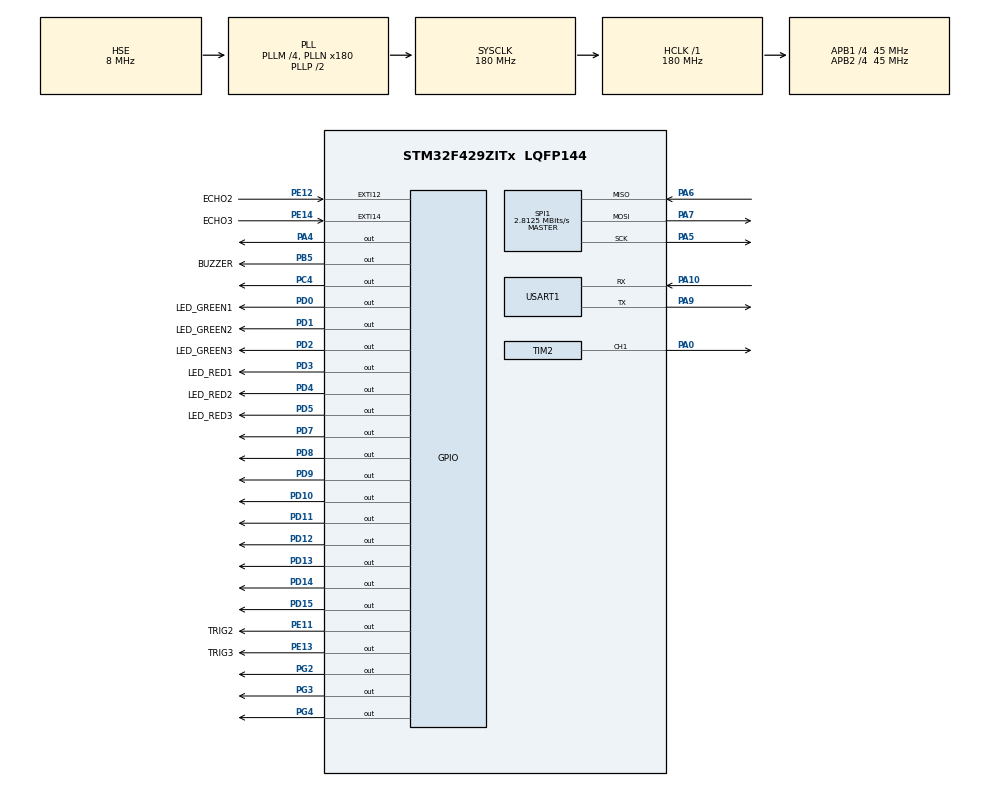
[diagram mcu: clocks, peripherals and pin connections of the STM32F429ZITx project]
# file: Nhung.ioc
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Mcu.Family=STM32F4
Mcu.Name=STM32F429ZITx
Mcu.Package=LQFP144
NVIC.EXTI15_10_IRQn=true\:0\:0\:false\:false\:true\:true\:true\:true
NVIC.PriorityGroup=NVIC_PRIORITYGROUP_4
NVIC.USART1_IRQn=true\:0\:0\:false\:false\:true\:true\:true\:true
PA0/WKUP.Signal=S_TIM2_CH1_ETR
PA10.Mode=Asynchronous
PA10.Signal=USART1_RX
PA4.Signal=GPIO_Output
PA5.Mode=Full_Duplex_Master
PA5.Signal=SPI1_SCK
PA6.Mode=Full_Duplex_Master
PA6.Signal=SPI1_MISO
PA7.Mode=Full_Duplex_Master
PA7.Signal=SPI1_MOSI
PA9.Mode=Asynchronous
PA9.Signal=USART1_TX
PB5.GPIO_Label=BUZZER
PB5.Signal=GPIO_Output
PC4.Signal=GPIO_Output
PD0.GPIO_Label=LED_GREEN1
PD0.Signal=GPIO_Output
PD1.GPIO_Label=LED_GREEN2
PD1.Signal=GPIO_Output
PD10.Signal=GPIO_Output
PD11.Signal=GPIO_Output
PD12.Signal=GPIO_Output
PD13.Signal=GPIO_Output
PD14.Signal=GPIO_Output
PD15.Signal=GPIO_Output
PD2.GPIO_Label=LED_GREEN3
PD2.Signal=GPIO_Output
PD3.GPIO_Label=LED_RED1
PD3.Signal=GPIO_Output
PD4.GPIO_Label=LED_RED2
PD4.Signal=GPIO_Output
PD5.GPIO_Label=LED_RED3
PD5.Signal=GPIO_Output
PD7.Signal=GPIO_Output
PD8.Signal=GPIO_Output
PD9.Signal=GPIO_Output
PE11.GPIO_Label=TRIG2
PE11.Signal=GPIO_Output
PE12.GPIO_Label=ECHO2
PE12.GPIO_ModeDefaultEXTI=GPIO_MODE_IT_RISING_FALLING
PE12.Signal=GPXTI12
PE13.GPIO_Label=TRIG3
PE13.Signal=GPIO_Output
PE14.GPIO_Label=ECHO3
PE14.GPIO_ModeDefaultEXTI=GPIO_MODE_IT_RISING_FALLING
PE14.Signal=GPXTI14
PG2.Signal=GPIO_Output
PG3.Signal=GPIO_Output
PG4.Signal=GPIO_Output
PH0/OSC_IN.Mode=HSE-External-Oscillator
PH0/OSC_IN.Signal=RCC_OSC_IN
PH1/OSC_OUT.Mode=HSE-External-Oscillator
PH1/OSC_OUT.Signal=RCC_OSC_OUT
ProjectManager.HeapSize=0x200
ProjectManager.StackSize=0x400
ProjectManager.TargetToolchain=STM32CubeIDE
RCC.48MHZClocksFreq_Value=90000000
RCC.AHBFreq_Value=180000000
RCC.APB1CLKDivider=RCC_HCLK_DIV4
RCC.APB1Freq_Value=45000000
RCC.APB1TimFreq_Value=90000000
RCC.APB2CLKDivider=RCC_HCLK_DIV4
RCC.APB2Freq_Value=45000000
RCC.APB2TimFreq_Value=90000000
RCC.CortexFreq_Value=180000000
RCC.HCLKFreq_Value=180000000
RCC.HSE_VALUE=8000000
RCC.HSI_VALUE=16000000
RCC.LSE_VALUE=32768
RCC.PLLM=4
RCC.PLLN=180
RCC.PLLSourceVirtual=RCC_PLLSOURCE_HSE
RCC.SYSCLKFreq_VALUE=180000000
RCC.SYSCLKSource=RCC_SYSCLKSOURCE_PLLCLK
RCC.VCOOutputFreq_Value=360000000
SH.S_TIM2_CH1_ETR.0=TIM2_CH1,PWM Generation1 CH1
SPI1.BaudRatePrescaler=SPI_BAUDRATEPRESCALER_16
SPI1.CalculateBaudRate=2.8125 MBits/s
SPI1.Direction=SPI_DIRECTION_2LINES
SPI1.Mode=SPI_MODE_MASTER
SPI1.VirtualType=VM_MASTER
TIM2.Channel-PWM\ Generation1\ CH1=TIM_CHANNEL_1
TIM2.Period=19999
TIM2.Prescaler=89
USART1.VirtualMode=VM_ASYNC
VP_TIM2_VS_ClockSourceINT.Mode=Internal
board=custom

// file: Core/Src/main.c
/* USER CODE BEGIN Header */
/**
  ******************************************************************************
  * @file           : main.c
  * @brief          : Main program body
  ******************************************************************************
  */
/* USER CODE END Header */
#include "main.h"

/* USER CODE BEGIN Includes */
#include "lcd1602.h"
#include "tm_stm32f4_mfrc522.h"
#include <stdio.h>
#include <string.h>
#include <stdlib.h>
#include <ctype.h>
/* USER CODE END Includes */

/* USER CODE BEGIN PD */
#define MAX_CARDS 10          // Số lượng thẻ tối đa hệ thống có thể lưu
#define RX_BUF_SIZE 60        // Kích thước bộ đệm nhận UART
/* USER CODE END PD */

SPI_HandleTypeDef hspi1;

TIM_HandleTypeDef htim2;

UART_HandleTypeDef huart1;

/* USER CODE BEGIN PV */
extern SPI_HandleTypeDef hspi1;
extern TIM_HandleTypeDef htim2;

// Cơ sở dữ liệu danh sách thẻ hợp lệ
uint8_t AllowedCards[MAX_CARDS][5] = {
    {0x56, 0x62, 0x2E, 0x02, 0x18},  // Thẻ Master mặc định ban đầu tại vị trí [0]
    {0xF0, 0x94, 0xD8, 0x5C, 0xE0},
	{0x40, 0x27, 0xC4, 0x41, 0xE2},
	{0xA4, 0x73, 0xC4, 0x41, 0x52}
};
uint8_t current_card_count = 4;

uint8_t str[5]; // Lưu UID thẻ vừa quét

// Biến điều khiển nhận bằng NGẮT UART
uint8_t rx_byte = 0;                  // Biến nhận từng byte một từ ngắt
char rx_buffer[RX_BUF_SIZE];
uint16_t rx_index = 0;
volatile uint8_t command_ready = 0;  // Sử dụng volatile vì biến thay đổi trong ISR

// Biến lưu khoảng cách cho cảm biến 2 và cảm biến 3
volatile uint32_t distance2 = 0;
volatile uint32_t distance3 = 0;

// Các biến phục vụ đo EXTI cho cảm biến 2
volatile uint32_t echo2_start_time = 0, echo2_end_time = 0;

// Các biến phục vụ đo EXTI cho cảm biến 3
volatile uint32_t echo3_start_time = 0, echo3_end_time = 0;
/* USER CODE END PV */

void SystemClock_Config(void);
static void MX_GPIO_Init(void);
static void MX_SPI1_Init(void);
static void MX_USART1_UART_Init(void);
static void MX_TIM2_Init(void);
/* USER CODE BEGIN PFP */
uint8_t Is_Card_Allowed(uint8_t *uid);
void Process_UART_Command(char *input);
uint8_t IsValidHexCard(char *str_hex);
void Control_Servo(uint8_t angle);
/* USER CODE END PFP */

/* USER CODE BEGIN 0 */
void delay_us(uint16_t us) {
    __HAL_TIM_SET_COUNTER(&htim2, 0);
    while (__HAL_TIM_GET_COUNTER(&htim2) < us);
}

// Kích xung Trigger riêng biệt cho cảm biến 2
void Trigger_Sensor2(void) {
    HAL_GPIO_WritePin(GPIOE, TRIG2_Pin, GPIO_PIN_RESET);
    delay_us(2);
    HAL_GPIO_WritePin(GPIOE, TRIG2_Pin, GPIO_PIN_SET);
    delay_us(12);
    HAL_GPIO_WritePin(GPIOE, TRIG2_Pin, GPIO_PIN_RESET);
}

// Kích xung Trigger riêng biệt cho cảm biến 3 (PE13)
void Trigger_Sensor3(void) {
    HAL_GPIO_WritePin(GPIOE, TRIG3_Pin, GPIO_PIN_RESET);
    delay_us(2);
    HAL_GPIO_WritePin(GPIOE, TRIG3_Pin, GPIO_PIN_SET);
    delay_us(12);
    HAL_GPIO_WritePin(GPIOE, TRIG3_Pin, GPIO_PIN_RESET);
}

// Hàm Callback xử lý ngắt ngoài EXTI chung cho các chân Echo
void HAL_GPIO_EXTI_Callback(uint16_t GPIO_Pin) {
    uint32_t current_time = __HAL_TIM_GET_COUNTER(&htim2);
    uint32_t pulse_width = 0;
    uint32_t calculated_distance = 0;

    // Xử lý Echo cho cảm biến Slot 2
    if (GPIO_Pin == ECHO2_Pin) {
        if (HAL_GPIO_ReadPin(GPIOE, ECHO2_Pin) == GPIO_PIN_SET) {
            echo2_start_time = current_time;
        } else {
            echo2_end_time = current_time;
            if (echo2_end_time > echo2_start_time) {
                pulse_width = echo2_end_time - echo2_start_time;
            } else {
                pulse_width = (0xFFFFFFFF - echo2_start_time) + echo2_end_time;
            }
            calculated_distance = (pulse_width * 0.0343) / 2;
            if (calculated_distance > 2 && calculated_distance < 400) {
                distance2 = calculated_distance;
            }
        }
    }

    // Xử lý Echo cho cảm biến Slot 3 (PE14)
    if (GPIO_Pin == ECHO3_Pin) {
        if (HAL_GPIO_ReadPin(GPIOE, ECHO3_Pin) == GPIO_PIN_SET) {
            echo3_start_time = current_time;
        } else {
            echo3_end_time = current_time;
            if (echo3_end_time > echo3_start_time) {
                pulse_width = echo3_end_time - echo3_start_time;
            } else {
                pulse_width = (0xFFFFFFFF - echo3_start_time) + echo3_end_time;
            }
            calculated_distance = (pulse_width * 0.0343) / 2;
            if (calculated_distance > 2 && calculated_distance < 400) {
                distance3 = calculated_distance;
            }
        }
    }
}

// Hàm Callback xử lý ngắt nhận UART (Tự động gọi khi có 1 byte truyền đến)
void HAL_UART_RxCpltCallback(UART_HandleTypeDef *huart) {
    if (huart->Instance == USART1) {
        // Nếu nhận được ký tự xuống dòng, hoàn tất lệnh
        if (rx_byte == '\n' || rx_byte == '\r') {
            if (rx_index > 0) {
                rx_buffer[rx_index] = '\0';
                command_ready = 1;
            }
        } else {
            // Đưa dữ liệu vào hàng đợi đệm nếu chưa xử lý xong lệnh cũ
            if (command_ready == 0) {
                if (rx_index < RX_BUF_SIZE - 1) {
                    rx_buffer[rx_index++] = rx_byte;
                } else {
                    rx_index = 0; // Tràn đệm tự động xóa
                }
            }
        }
        // Tiếp tục kích hoạt chế độ ngắt chờ byte tiếp theo
        HAL_UART_Receive_IT(&huart1, &rx_byte, 1);
    }
}

// Hàm kiểm tra định dạng độ dài và tính hợp lệ của chuỗi mã thẻ HEX
uint8_t IsValidHexCard(char *str_hex) {
    if (strlen(str_hex) != 10) return 0;
    for (int i = 0; i < 10; i++) {
        if (!isxdigit((unsigned char)str_hex[i])) return 0;
    }
    return 1;
}

// Hàm kiểm tra xem UID thẻ vừa quét có nằm trong danh sách được phép không
uint8_t Is_Card_Allowed(uint8_t *uid) {
    for (uint8_t i = 0; i < current_card_count; i++) {
        if (TM_MFRC522_Compare(uid, AllowedCards[i]) == MI_OK) {
            return 1;
        }
    }
    return 0;
}

void Process_UART_Command(char *input) {
    char response[150];
    int tx_len;

    char *cmd = strtok(input, " \t\r\n");
    if (cmd == NULL) return;

    for(int i = 0; cmd[i]; i++) cmd[i] = tolower((unsigned char)cmd[i]);

    // ================= LỆNH ADD THẺ RFID =================
    if (strcmp(cmd, "add") == 0) {
        char *arg = strtok(NULL, " \t\r\n");

        if (arg != NULL && IsValidHexCard(arg)) {
            for(int i = 0; arg[i]; i++) arg[i] = toupper((unsigned char)arg[i]);

            if (current_card_count < MAX_CARDS) {
                uint8_t temp_uid[5];
                char hex_part[3];
                hex_part[2] = '\0';

                for (int i = 0; i < 5; i++) {
                    hex_part[0] = arg[i * 2];
                    hex_part[1] = arg[i * 2 + 1];
                    temp_uid[i] = (uint8_t)strtol(hex_part, NULL, 16);
                }

                uint8_t duplicated = 0;
                for (uint8_t i = 0; i < current_card_count; i++) {
                    if (TM_MFRC522_Compare(temp_uid, AllowedCards[i]) == MI_OK) {
                        duplicated = 1;
                        break;
                    }
                }

                if (duplicated) {
                    tx_len = sprintf(response, "\r\n[SYSTEM] WARNING: The %s da ton tai tu truoc!\r\n", arg);
                } else {
                    memcpy(AllowedCards[current_card_count], temp_uid, 5);
                    current_card_count++;
                    tx_len = sprintf(response, "\r\n[SYSTEM] SUCCESS: Da add the %s vao bo nho! (%d/%d)\r\n", arg, current_card_count, MAX_CARDS);
                }
            } else {
                tx_len = sprintf(response, "\r\n[SYSTEM] ERROR: Bo nho he thong da day!\r\n");
            }
        } else {
            tx_len = sprintf(response, "\r\n[SYSTEM] ERROR: Cu phap sai! Ma the phai du 10 ky tu HEX. Vi du: add A473C44152\r\n");
        }
        HAL_UART_Transmit(&huart1, (uint8_t*)response, tx_len, 100);
    }
    else {
        tx_len = sprintf(response, "\r\n[SYSTEM] ERROR: Lenh '%s' khong duoc ho tro! Dung: add <Ma_The>\r\n", cmd);
        HAL_UART_Transmit(&huart1, (uint8_t*)response, tx_len, 100);
    }
}

void Control_Servo(uint8_t angle) {
    if (angle > 180) angle = 180;

    // Ánh xạ góc từ 0 - 180 độ sang thời gian xung từ 500us đến 2500us
    uint32_t pulse_us = 500 + ((angle * 2000) / 180);

    // Ghi trực tiếp số microgiây vào Channel 1 của TIM2
    __HAL_TIM_SET_COMPARE(&htim2, TIM_CHANNEL_1, pulse_us);
}

void Buzzer_Beep(uint8_t count, uint16_t delay_ms) {
    for (uint8_t i = 0; i < count; i++) {
        HAL_GPIO_WritePin(GPIOB, BUZZER_Pin, GPIO_PIN_SET);
        HAL_Delay(delay_ms);
        HAL_GPIO_WritePin(GPIOB, BUZZER_Pin, GPIO_PIN_RESET);
        if (count > 1) HAL_Delay(delay_ms);
    }
}

void UID_To_String(uint8_t *uid, char *out_str) {
    sprintf(out_str, "%02X%02X%02X%02X%02X", uid[0], uid[1], uid[2], uid[3], uid[4]);
}
/* USER CODE END 0 */

int main(void)
{

  /* USER CODE BEGIN 1 */
	typedef enum {
	    DOOR_IDLE,
	    DOOR_OPENING_VALID,
	    DOOR_OPENING_INVALID
	} DoorState_t;

	DoorState_t door_state = DOOR_IDLE;
	uint32_t door_timer = 0;
  /* USER CODE END 1 */

  /* MCU Configuration--------------------------------------------------------*/

  /* Reset of all peripherals, Initializes the Flash interface and the Systick. */
  HAL_Init();

  /* Configure the system clock */
  SystemClock_Config();

  /* Initialize all configured peripherals */
  MX_GPIO_Init();
  MX_SPI1_Init();
  MX_USART1_UART_Init();
  MX_TIM2_Init();
  /* USER CODE BEGIN 2 */
    HAL_GPIO_WritePin(GPIOD, GPIO_PIN_7, GPIO_PIN_SET);
    HAL_Delay(50);

    HAL_TIM_Base_Start(&htim2);

	HAL_TIM_PWM_Start(&htim2, TIM_CHANNEL_1);

	Control_Servo(0);

	LCD_Init();
    HAL_Delay(10);
    LCD_GotoXY(1, 0);
    LCD_Write_String("SMART PARKING 3T");
    LCD_GotoXY(2, 0);
    LCD_Write_String("Scan Your Card...");

    TM_MFRC522_Init();

    // KÍCH HOẠT NHẬN NGẮT UART TRƯỚC KHI VÀO WHILE(1)
    HAL_UART_Receive_IT(&huart1, &rx_byte, 1);

    char start_msg[] = "He thong khoi dong!\r\n";
    HAL_UART_Transmit(&huart1, (uint8_t*)start_msg, sizeof(start_msg) - 1, 100);
  /* USER CODE END 2 */

  /* Infinite loop */
  /* USER CODE BEGIN WHILE */
	  uint32_t last_print_time = 0;
	  uint32_t last_trigger_time = 0;
	  uint8_t sensor_toggle = 0;

	  while (1)
	  {
    /* USER CODE END WHILE */

    /* USER CODE BEGIN 3 */
		char lcd_buf[32];
		char tx_buf[120];
		int tx_len;

		// =================================================================
		// XỬ LÝ LỆNH UART TỪ NGẮT ĐẨY RA
		// =================================================================
		if (command_ready) {
			Process_UART_Command(rx_buffer);

			// Xóa bộ đệm và hạ cờ an toàn
			memset(rx_buffer, 0, RX_BUF_SIZE);
			rx_index = 0;
			command_ready = 0;
		}

		// =================================================================
		// 1. KÍCH HOẠT ĐO SIÊU ÂM LUÂN PHIÊN
		// =================================================================
		if (HAL_GetTick() - last_trigger_time >= 60) {
			last_trigger_time = HAL_GetTick();
			if (sensor_toggle == 0) {
				Trigger_Sensor2();
				sensor_toggle = 1;
			} else {
				Trigger_Sensor3();
				sensor_toggle = 0;
			}
		}

		// =================================================================
		// 2. LOGIC ĐIỀU KHIỂN LED VÀ TÍNH SỐ SLOT OCCUPIED
		// =================================================================
		uint8_t occupied_slots = 0;

		if (distance2 > 0 && distance2 <= 5) {
			HAL_GPIO_WritePin(GPIOD, LED_RED2_Pin, GPIO_PIN_SET);
			HAL_GPIO_WritePin(GPIOD, LED_GREEN2_Pin, GPIO_PIN_RESET);
			occupied_slots++;
		} else {
			HAL_GPIO_WritePin(GPIOD, LED_RED2_Pin, GPIO_PIN_RESET);
			HAL_GPIO_WritePin(GPIOD, LED_GREEN2_Pin, GPIO_PIN_SET);
		}

		if (distance3 > 0 && distance3 <= 5) {
			HAL_GPIO_WritePin(GPIOD, LED_RED3_Pin, GPIO_PIN_SET);
			HAL_GPIO_WritePin(GPIOD, LED_GREEN3_Pin, GPIO_PIN_RESET);
			occupied_slots++;
		} else {
			HAL_GPIO_WritePin(GPIOD, LED_RED3_Pin, GPIO_PIN_RESET);
			HAL_GPIO_WritePin(GPIOD, LED_GREEN3_Pin, GPIO_PIN_SET);
		}

		// =================================================================
		// 3. KIỂM TRA QUÉT THẺ RFID RC522 & QUẢN LÝ CỬA
		// =================================================================
		if (door_state == DOOR_IDLE) {
		if (TM_MFRC522_Check(str) == MI_OK) {
			HAL_GPIO_WritePin(GPIOB, BUZZER_Pin, GPIO_PIN_SET);
			HAL_Delay(50);
			HAL_GPIO_WritePin(GPIOB, BUZZER_Pin, GPIO_PIN_RESET);

			UID_To_String(str, lcd_buf);
			tx_len = sprintf(tx_buf, "The quet! UID: %s\r\n", lcd_buf);
			HAL_UART_Transmit(&huart1, (uint8_t*)tx_buf, tx_len, 100);

			// Kiểm tra xem bãi xe có bị đầy không trước khi check thẻ
			if (occupied_slots >= 2) {
				tx_len = sprintf(tx_buf, "Ket qua: TU CHOI! Bai do xe da day (2/2).\r\n");
				HAL_UART_Transmit(&huart1, (uint8_t*)tx_buf, tx_len, 100);

				LCD_GotoXY(1, 0);
				LCD_Write_String("PARKING FULL !! ");
				LCD_GotoXY(2, 0);
				LCD_Write_String("Cannot Enter!   ");

				Buzzer_Beep(3, 80); // Kêu bíp cảnh báo lỗi bãi đầy
				door_state = DOOR_OPENING_INVALID; // Chuyển sang trạng thái chờ reset màn hình ngắn (1.5s)
				door_timer = HAL_GetTick();
			}
			// Nếu bãi xe còn chỗ mới kiểm tra tính hợp lệ của thẻ
			else if (Is_Card_Allowed(str)) {
				tx_len = sprintf(tx_buf, "Ket qua: THE HOP LE. Mo cua!\r\n");
				HAL_UART_Transmit(&huart1, (uint8_t*)tx_buf, tx_len, 100);

				LCD_GotoXY(1, 0);
				LCD_Write_String("ACCESS GRANTED  ");
				LCD_GotoXY(2, 0);
				LCD_Write_String("Welcome Home!   ");

				Control_Servo(90);
				door_state = DOOR_OPENING_VALID;
				door_timer = HAL_GetTick();
			}
			else {
				tx_len = sprintf(tx_buf, "Ket qua: THE KHONG HOP LE. Tu choi!\r\n");
				HAL_UART_Transmit(&huart1, (uint8_t*)tx_buf, tx_len, 100);

				LCD_GotoXY(1, 0);
				LCD_Write_String("ACCESS DENIED   ");
				LCD_GotoXY(2, 0);
				LCD_Write_String("Invalid Card!   ");

				Buzzer_Beep(3, 80);
				door_state = DOOR_OPENING_INVALID;
				door_timer = HAL_GetTick();
			}
		}
	}
		// =================================================================
		// 4. MÁY TRẠNG THÁI XỬ LÝ THỜI GIAN CHỜ CỬA TỰ ĐỘNG ĐÓNG & HIỂN THỊ
		// =================================================================
		switch (door_state) {
			case DOOR_OPENING_VALID:
				// Ép thanh ghi giữ nguyên giá trị mở cửa (90 độ -> CCR = 75)
				Control_Servo(90);

				if (HAL_GetTick() - door_timer >= 4500) {
					Control_Servo(0); // Hết 4.5 giây mới đóng cửa
					door_state = DOOR_IDLE;
					last_print_time = 0;
				}
				break;

			case DOOR_OPENING_INVALID:
				if (HAL_GetTick() - door_timer >= 1500) {
					door_state = DOOR_IDLE;
					last_print_time = 0;
				}
				break;

			case DOOR_IDLE:
			default:
				// Khi rảnh rỗi, luôn ép servo về góc 0 độ (CCR = 25)
				Control_Servo(0);

				if (HAL_GetTick() - last_print_time >= 1500) {
					last_print_time = HAL_GetTick();

					tx_len = sprintf(tx_buf, "DEBUG -> S2: %02lucm | S3: %02lucm | Occupied: %d/2 | Cards: %d\r\n",
									 distance2, distance3, occupied_slots, current_card_count);
					HAL_UART_Transmit(&huart1, (uint8_t*)tx_buf, tx_len, 100);

					LCD_GotoXY(1, 0);
					LCD_Write_String("SCAN YOUR CARD..");

					sprintf(lcd_buf, "Occupied: %d/2   ", occupied_slots);
					LCD_GotoXY(2, 0);
					LCD_Write_String(lcd_buf);
				}
				break;
		}
		HAL_Delay(1);
	  }
  /* USER CODE END 3 */
}

void SystemClock_Config(void)
{
  RCC_OscInitTypeDef RCC_OscInitStruct = {0};
  RCC_ClkInitTypeDef RCC_ClkInitStruct = {0};

  /** Configure the main internal regulator output voltage
  */
  __HAL_RCC_PWR_CLK_ENABLE();
  __HAL_PWR_VOLTAGESCALING_CONFIG(PWR_REGULATOR_VOLTAGE_SCALE1);

  /** Initializes the RCC Oscillators according to the specified parameters
  * in the RCC_OscInitTypeDef structure.
  */
  RCC_OscInitStruct.OscillatorType = RCC_OSCILLATORTYPE_HSE;
  RCC_OscInitStruct.HSEState = RCC_HSE_ON;
  RCC_OscInitStruct.PLL.PLLState = RCC_PLL_ON;
  RCC_OscInitStruct.PLL.PLLSource = RCC_PLLSOURCE_HSE;
  RCC_OscInitStruct.PLL.PLLM = 4;
  RCC_OscInitStruct.PLL.PLLN = 180;
  RCC_OscInitStruct.PLL.PLLP = RCC_PLLP_DIV2;
  RCC_OscInitStruct.PLL.PLLQ = 4;
  if (HAL_RCC_OscConfig(&RCC_OscInitStruct) != HAL_OK)
  {
    Error_Handler();
  }

  /** Activate the Over-Drive mode
  */
  if (HAL_PWREx_EnableOverDrive() != HAL_OK)
  {
    Error_Handler();
  }

  /** Initializes the CPU, AHB and APB buses clocks
  */
  RCC_ClkInitStruct.ClockType = RCC_CLOCKTYPE_HCLK|RCC_CLOCKTYPE_SYSCLK
                              |RCC_CLOCKTYPE_PCLK1|RCC_CLOCKTYPE_PCLK2;
  RCC_ClkInitStruct.SYSCLKSource = RCC_SYSCLKSOURCE_PLLCLK;
  RCC_ClkInitStruct.AHBCLKDivider = RCC_SYSCLK_DIV1;
  RCC_ClkInitStruct.APB1CLKDivider = RCC_HCLK_DIV4;
  RCC_ClkInitStruct.APB2CLKDivider = RCC_HCLK_DIV4;

  if (HAL_RCC_ClockConfig(&RCC_ClkInitStruct, FLASH_LATENCY_5) != HAL_OK)
  {
    Error_Handler();
  }
}

static void MX_SPI1_Init(void)
{

  /* SPI1 parameter configuration*/
  hspi1.Instance = SPI1;
  hspi1.Init.Mode = SPI_MODE_MASTER;
  hspi1.Init.Direction = SPI_DIRECTION_2LINES;
  hspi1.Init.DataSize = SPI_DATASIZE_8BIT;
  hspi1.Init.CLKPolarity = SPI_POLARITY_LOW;
  hspi1.Init.CLKPhase = SPI_PHASE_1EDGE;
  hspi1.Init.NSS = SPI_NSS_SOFT;
  hspi1.Init.BaudRatePrescaler = SPI_BAUDRATEPRESCALER_16;
  hspi1.Init.FirstBit = SPI_FIRSTBIT_MSB;
  hspi1.Init.TIMode = SPI_TIMODE_DISABLE;
  hspi1.Init.CRCCalculation = SPI_CRCCALCULATION_DISABLE;
  hspi1.Init.CRCPolynomial = 10;
  if (HAL_SPI_Init(&hspi1) != HAL_OK)
  {
    Error_Handler();
  }

}

static void MX_TIM2_Init(void)
{

  TIM_ClockConfigTypeDef sClockSourceConfig = {0};
  TIM_MasterConfigTypeDef sMasterConfig = {0};
  TIM_OC_InitTypeDef sConfigOC = {0};

  htim2.Instance = TIM2;
  htim2.Init.Prescaler = 89;
  htim2.Init.CounterMode = TIM_COUNTERMODE_UP;
  htim2.Init.Period = 19999;
  htim2.Init.ClockDivision = TIM_CLOCKDIVISION_DIV1;
  htim2.Init.AutoReloadPreload = TIM_AUTORELOAD_PRELOAD_DISABLE;
  if (HAL_TIM_Base_Init(&htim2) != HAL_OK)
  {
    Error_Handler();
  }
  sClockSourceConfig.ClockSource = TIM_CLOCKSOURCE_INTERNAL;
  if (HAL_TIM_ConfigClockSource(&htim2, &sClockSourceConfig) != HAL_OK)
  {
    Error_Handler();
  }
  if (HAL_TIM_PWM_Init(&htim2) != HAL_OK)
  {
    Error_Handler();
  }
  sMasterConfig.MasterOutputTrigger = TIM_TRGO_RESET;
  sMasterConfig.MasterSlaveMode = TIM_MASTERSLAVEMODE_DISABLE;
  if (HAL_TIMEx_MasterConfigSynchronization(&htim2, &sMasterConfig) != HAL_OK)
  {
    Error_Handler();
  }
  sConfigOC.OCMode = TIM_OCMODE_PWM1;
  sConfigOC.Pulse = 0;
  sConfigOC.OCPolarity = TIM_OCPOLARITY_HIGH;
  sConfigOC.OCFastMode = TIM_OCFAST_DISABLE;
  if (HAL_TIM_PWM_ConfigChannel(&htim2, &sConfigOC, TIM_CHANNEL_1) != HAL_OK)
  {
    Error_Handler();
  }
  HAL_TIM_MspPostInit(&htim2);

}

static void MX_USART1_UART_Init(void)
{

  huart1.Instance = USART1;
  huart1.Init.BaudRate = 115200;
  huart1.Init.WordLength = UART_WORDLENGTH_8B;
  huart1.Init.StopBits = UART_STOPBITS_1;
  huart1.Init.Parity = UART_PARITY_NONE;
  huart1.Init.Mode = UART_MODE_TX_RX;
  huart1.Init.HwFlowCtl = UART_HWCONTROL_NONE;
  huart1.Init.OverSampling = UART_OVERSAMPLING_16;
  if (HAL_UART_Init(&huart1) != HAL_OK)
  {
    Error_Handler();
  }

}

static void MX_GPIO_Init(void)
{
  GPIO_InitTypeDef GPIO_InitStruct = {0};

  /* GPIO Ports Clock Enable */
  __HAL_RCC_GPIOH_CLK_ENABLE();
  __HAL_RCC_GPIOA_CLK_ENABLE();
  __HAL_RCC_GPIOC_CLK_ENABLE();
  __HAL_RCC_GPIOE_CLK_ENABLE();
  __HAL_RCC_GPIOD_CLK_ENABLE();
  __HAL_RCC_GPIOG_CLK_ENABLE();
  __HAL_RCC_GPIOB_CLK_ENABLE();

  /*Configure GPIO pin Output Level */
  HAL_GPIO_WritePin(GPIOA, GPIO_PIN_4, GPIO_PIN_RESET);

  /*Configure GPIO pin Output Level */
  HAL_GPIO_WritePin(GPIOC, GPIO_PIN_4, GPIO_PIN_RESET);

  /*Configure GPIO pin Output Level */
  HAL_GPIO_WritePin(GPIOE, TRIG2_Pin|TRIG3_Pin, GPIO_PIN_RESET);

  /*Configure GPIO pin Output Level */
  HAL_GPIO_WritePin(GPIOD, GPIO_PIN_8|GPIO_PIN_9|GPIO_PIN_10|GPIO_PIN_11
                          |GPIO_PIN_12|GPIO_PIN_13|GPIO_PIN_14|GPIO_PIN_15
                          |LED_GREEN1_Pin|LED_GREEN2_Pin|LED_GREEN3_Pin|LED_RED1_Pin
                          |LED_RED2_Pin|LED_RED3_Pin|GPIO_PIN_7, GPIO_PIN_RESET);

  /*Configure GPIO pin Output Level */
  HAL_GPIO_WritePin(GPIOG, GPIO_PIN_2|GPIO_PIN_3|GPIO_PIN_4, GPIO_PIN_RESET);

  /*Configure GPIO pin Output Level */
  HAL_GPIO_WritePin(BUZZER_GPIO_Port, BUZZER_Pin, GPIO_PIN_RESET);

  /*Configure GPIO pin : PA4 */
  GPIO_InitStruct.Pin = GPIO_PIN_4;
  GPIO_InitStruct.Mode = GPIO_MODE_OUTPUT_PP;
  GPIO_InitStruct.Pull = GPIO_NOPULL;
  GPIO_InitStruct.Speed = GPIO_SPEED_FREQ_LOW;
  HAL_GPIO_Init(GPIOA, &GPIO_InitStruct);

  /*Configure GPIO pin : PC4 */
  GPIO_InitStruct.Pin = GPIO_PIN_4;
  GPIO_InitStruct.Mode = GPIO_MODE_OUTPUT_PP;
  GPIO_InitStruct.Pull = GPIO_NOPULL;
  GPIO_InitStruct.Speed = GPIO_SPEED_FREQ_LOW;
  HAL_GPIO_Init(GPIOC, &GPIO_InitStruct);

  /*Configure GPIO pins : TRIG2_Pin TRIG3_Pin */
  GPIO_InitStruct.Pin = TRIG2_Pin|TRIG3_Pin;
  GPIO_InitStruct.Mode = GPIO_MODE_OUTPUT_PP;
  GPIO_InitStruct.Pull = GPIO_NOPULL;
  GPIO_InitStruct.Speed = GPIO_SPEED_FREQ_LOW;
  HAL_GPIO_Init(GPIOE, &GPIO_InitStruct);

  /*Configure GPIO pins : ECHO2_Pin ECHO3_Pin */
  GPIO_InitStruct.Pin = ECHO2_Pin|ECHO3_Pin;
  GPIO_InitStruct.Mode = GPIO_MODE_IT_RISING_FALLING;
  GPIO_InitStruct.Pull = GPIO_NOPULL;
  HAL_GPIO_Init(GPIOE, &GPIO_InitStruct);

  /*Configure GPIO pins : PD8 PD9 PD10 PD11
                           PD12 PD13 PD14 PD15
                           LED_GREEN1_Pin LED_GREEN2_Pin LED_GREEN3_Pin LED_RED1_Pin
                           LED_RED2_Pin LED_RED3_Pin PD7 */
  GPIO_InitStruct.Pin = GPIO_PIN_8|GPIO_PIN_9|GPIO_PIN_10|GPIO_PIN_11
                          |GPIO_PIN_12|GPIO_PIN_13|GPIO_PIN_14|GPIO_PIN_15
                          |LED_GREEN1_Pin|LED_GREEN2_Pin|LED_GREEN3_Pin|LED_RED1_Pin
                          |LED_RED2_Pin|LED_RED3_Pin|GPIO_PIN_7;
  GPIO_InitStruct.Mode = GPIO_MODE_OUTPUT_PP;
  GPIO_InitStruct.Pull = GPIO_NOPULL;
  GPIO_InitStruct.Speed = GPIO_SPEED_FREQ_LOW;
  HAL_GPIO_Init(GPIOD, &GPIO_InitStruct);

  /*Configure GPIO pins : PG2 PG3 PG4 */
  GPIO_InitStruct.Pin = GPIO_PIN_2|GPIO_PIN_3|GPIO_PIN_4;
  GPIO_InitStruct.Mode = GPIO_MODE_OUTPUT_PP;
  GPIO_InitStruct.Pull = GPIO_NOPULL;
  GPIO_InitStruct.Speed = GPIO_SPEED_FREQ_LOW;
  HAL_GPIO_Init(GPIOG, &GPIO_InitStruct);

  /*Configure GPIO pin : BUZZER_Pin */
  GPIO_InitStruct.Pin = BUZZER_Pin;
  GPIO_InitStruct.Mode = GPIO_MODE_OUTPUT_PP;
  GPIO_InitStruct.Pull = GPIO_NOPULL;
  GPIO_InitStruct.Speed = GPIO_SPEED_FREQ_LOW;
  HAL_GPIO_Init(BUZZER_GPIO_Port, &GPIO_InitStruct);

  /* EXTI interrupt init*/
  HAL_NVIC_SetPriority(EXTI15_10_IRQn, 0, 0);
  HAL_NVIC_EnableIRQ(EXTI15_10_IRQn);

}

void Error_Handler(void)
{
  __disable_irq();
  while (1)
  {
  }
}
